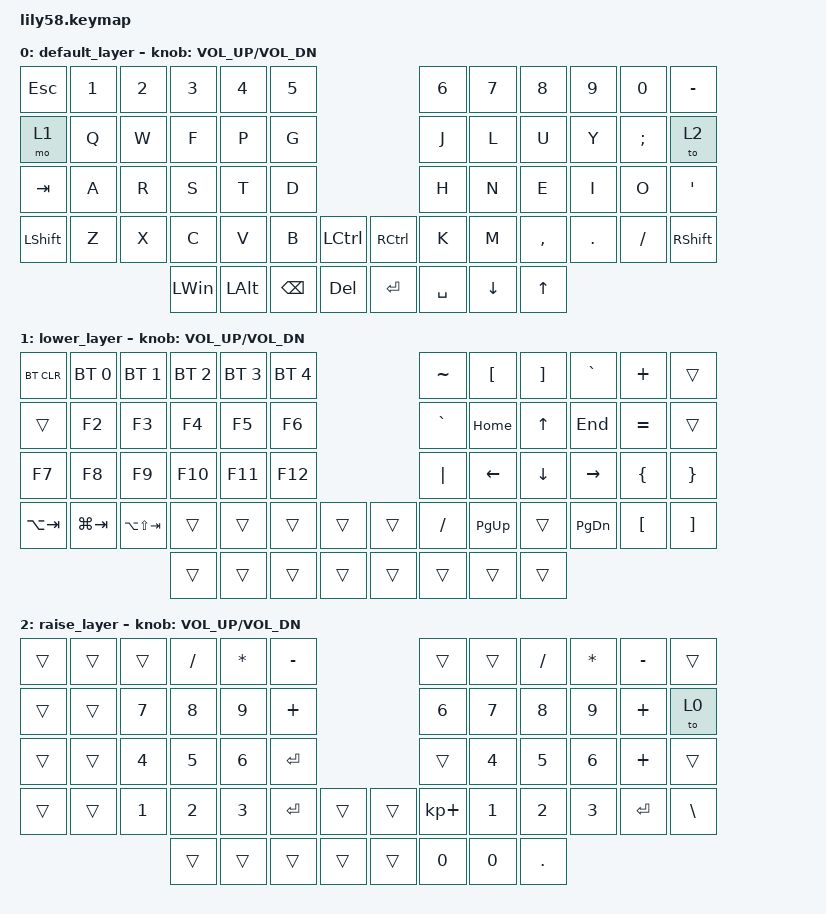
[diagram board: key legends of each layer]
/*
 * Copyright (c) 2020 The ZMK Contributors
 *
 * SPDX-License-Identifier: MIT
 */

#include <behaviors.dtsi>
#include <dt-bindings/zmk/keys.h>
#include <dt-bindings/zmk/bt.h>
#include <dt-bindings/zmk/ext_power.h>

/ {
    keymap {
        compatible = "zmk,keymap";

        default_layer {
// ------------------------------------------------------------------------------------------------------------
// |  ESC  |  1  |  2  |  3   |  4   |  5   |                   |  6   |  7    |  8    |  9   |   0   |   `   |
// |  TAB  |  Q  |  W  |  E   |  R   |  T   |                   |  Y   |  U    |  I    |  O   |   P   |   -   |
// |  CTRL |  A  |  S  |  D   |  F   |  G   |                   |  H   |  J    |  K    |  L   |   ;   |   '   |
// | SHIFT |  Z  |  X  |  C   |  V   |  B   |   "["  |  |  "]"  |  N   |  M    |  ,    |  .   |   /   | SHIFT |
//                     | ALT  | GUI  | LOWER|  SPACE |  | ENTER | RAISE| BSPC  | GUI   |
            bindings = <
&kp ESC   &kp N1 &kp N2 &kp N3   &kp N4   &kp N5                        &kp N6    &kp N7   &kp N8    &kp N9  &kp N0   &kp MINUS
&mo 1     &kp Q  &kp W  &kp F    &kp P    &kp G                         &kp J     &kp L    &kp U     &kp Y   &kp SEMI &to 2
&kp TAB   &kp A  &kp R  &kp S    &kp T    &kp D                         &kp H     &kp N    &kp E     &kp I   &kp O    &kp SQT
&kp LSHFT &kp Z  &kp X  &kp C    &kp V    &kp B    &kp LCTRL  &kp RCTRL &kp K     &kp M    &kp COMMA &kp DOT &kp FSLH &kp RSHFT
                        &kp LWIN &kp LALT &kp BSPC &kp DEL    &kp RET   &kp SPACE &kp DOWN &kp UP
            >;

            sensor-bindings = <&inc_dec_kp C_VOL_UP C_VOL_DN>;
        };

        lower_layer {
// ------------------------------------------------------------------------------------------------------------
// | BTCLR | BT1 | BT2 |  BT3 |  BT4 |  BT5 |                   |      |       |       |      |       |       |
// |  F1   |  F2 |  F3 |  F4  |  F5  |  F6  |                   |  F7  |  F8   |  F9   |  F10 |  F11  |  F12  |
// |   `   |  !  |  @  |  #   |  $   |  %   |                   |  ^   |  &    |  *    |  (   |   )   |   ~   |
// |       |     |     |      |      |      |        |  |       |      |  _    |  +    |  {   |   }   |  "|"  |
//                     |      |      |      |        |  |       |      |       |       |
            bindings = <
&bt BT_CLR  &bt BT_SEL 0     &bt BT_SEL 1     &bt BT_SEL 2      &bt BT_SEL 3 &bt BT_SEL 4                 &kp TILDE &kp LBKT  &kp RBKT    &kp GRAVE &kp PLUS  &trans
&trans      &kp F2           &kp F3           &kp F4            &kp F5       &kp F6                       &kp GRAVE &kp HOME  &kp UP      &kp END   &kp EQUAL &trans
&kp F7      &kp F8           &kp F9           &kp F10           &kp F11      &kp F12                      &kp PIPE  &kp LEFT  &kp DOWN    &kp RIGHT &kp LBRC  &kp RBRC
&kp LA(TAB) &kp LG(TAB)      &kp LA(LS(TAB))  &trans            &trans       &trans    &trans   &trans    &kp FSLH  &kp PG_UP &trans      &kp PG_DN &kp LBKT  &kp RBKT
                                              &trans            &trans       &trans    &trans   &trans    &trans    &trans    &trans
            >;

            sensor-bindings = <&inc_dec_kp C_VOL_UP C_VOL_DN>;
        };

        raise_layer {
// ------------------------------------------------------------------------------------------------------------
// |       |     |     |      |      |      |                   |      |       |       |      |       |       |
// |   `   |  1  |  2  |  3   |  4   |  5   |                   |  6   |   7   |   8   |  9   |   0   |       |
// |   F1  |  F2 |  F3 |  F4  |  F5  |  F6  |                   |      |   <-  |   v   |  ^   |  ->   |       |
// |   F7  |  F8 |  F9 |  F10 |  F11 |  F12 |        |  |       |  +   |   -   |   =   |  [   |   ]   |   \   |
//                     |      |      |      |        |  |       |      |       |       |
            bindings = <
&trans    &trans &trans &kp FSLH &kp STAR &kp MINUS                    &trans      &trans    &kp SLASH &kp STAR &kp MINUS &trans
&trans    &trans &kp N7 &kp N8   &kp N9   &kp PLUS                     &kp N6      &kp N7    &kp N8    &kp N9   &kp PLUS  &to 0
&trans    &trans &kp N4 &kp N5   &kp N6   &kp ENTER                    &trans      &kp N4    &kp N5    &kp N6   &kp PLUS  &trans
&trans    &trans &kp N1 &kp N2   &kp N3   &kp ENTER &trans   &trans    &kp KP_PLUS &kp N1    &kp N2    &kp N3   &kp ENTER &kp BSLH
                        &trans   &trans   &trans    &trans   &trans    &kp N0      &kp N0    &kp DOT
            >;

            sensor-bindings = <&inc_dec_kp C_VOL_UP C_VOL_DN>;
        };
    };
};
